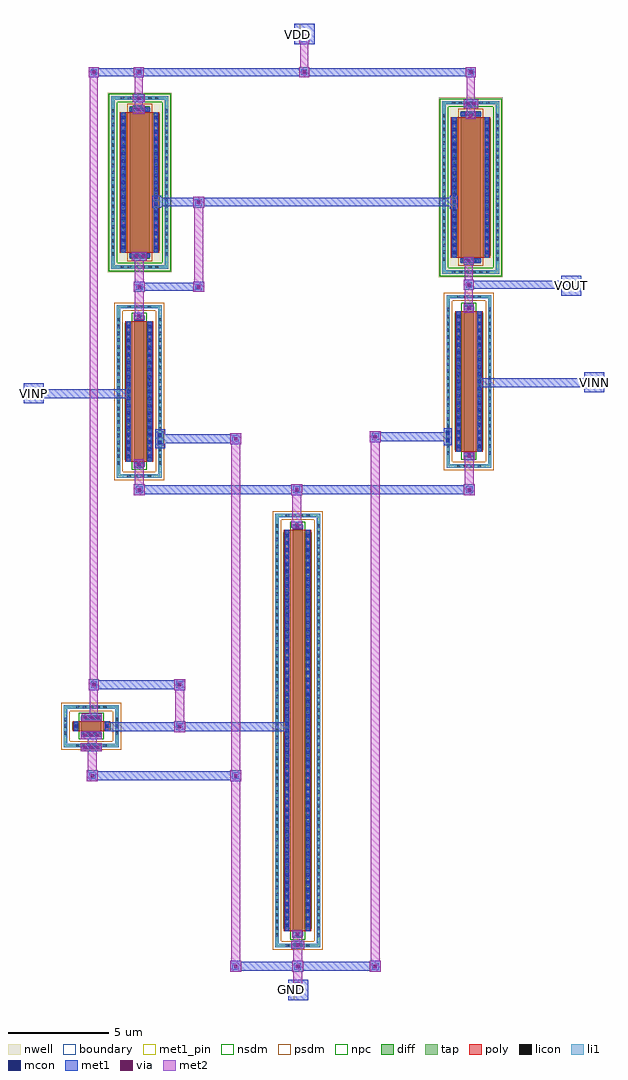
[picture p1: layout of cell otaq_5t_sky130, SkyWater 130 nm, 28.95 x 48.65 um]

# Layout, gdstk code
from math import pi, radians
import gdstk
lib = gdstk.Library(unit=1e-6, precision=1e-09)
def R(c, l, rs):  # rectangles x0, y0, x1, y1
    for r in rs: c.add(gdstk.rectangle(r[:2], r[2:], *l))
def A(c, l, x, y, w, h, nx, ny, dx, dy):  # array of equal rectangles
    R(c, l, [(x+i*dx, y+j*dy, x+i*dx+w, y+j*dy+h) for i in range(nx) for j in range(ny)])
nwell = (64, 20)
diff = (65, 20)
tap = (65, 44)
poly = (66, 20)
licon = (66, 44)
li1 = (67, 20)
mcon = (67, 44)
met1_pin = (68, 16)
met1 = (68, 20)
via = (68, 44)
met2 = (69, 20)
nsdm = (93, 44)
psdm = (94, 20)
npc = (95, 20)
boundary = (235, 4)

sky130_fd_pr__nfet_01v8_ = lib.new_cell('sky130_fd_pr__nfet_01v8_49D4KV')
R(sky130_fd_pr__nfet_01v8_, diff, [(-0.54,-0.5,0.54,0.5)])
R(sky130_fd_pr__nfet_01v8_, tap, [(-1.05,-1.37,1.05,-1.2), (-1.05,-1.2,-0.88,1.2), (0.88,-1.2,1.05,1.2), (-1.05,1.2,1.05,1.37)])
R(sky130_fd_pr__nfet_01v8_, poly, [(-0.25,-0.94,0.25,0.94)])
A(sky130_fd_pr__nfet_01v8_, licon, -0.425, -1.37, 0.17, 0.17, 3, 2, 0.34, 2.57)
A(sky130_fd_pr__nfet_01v8_, licon, -1.05, -0.765, 0.17, 0.17, 1, 5, 0, 0.34)
A(sky130_fd_pr__nfet_01v8_, licon, 0.88, -0.765, 0.17, 0.17, 1, 5, 0, 0.34)
A(sky130_fd_pr__nfet_01v8_, licon, -0.48, -0.425, 0.17, 0.17, 1, 3, 0, 0.34)
A(sky130_fd_pr__nfet_01v8_, licon, 0.31, -0.425, 0.17, 0.17, 1, 3, 0, 0.34)
R(sky130_fd_pr__nfet_01v8_, licon, [(-0.085,-0.86,0.085,-0.69), (-0.085,0.69,0.085,0.86)])
R(sky130_fd_pr__nfet_01v8_, li1, [(-1.05,-1.37,1.05,-1.2), (-1.05,-1.2,-0.88,1.2), (0.88,-1.2,1.05,1.2), (-0.25,-0.86,0.25,-0.69), (-0.48,-0.52,-0.31,0.52), (0.31,-0.52,0.48,0.52), (-0.25,0.69,0.25,0.86), (-1.05,1.2,1.05,1.37)])
R(sky130_fd_pr__nfet_01v8_, mcon, [(-0.085,-0.86,0.085,-0.69), (-0.48,-0.265,-0.31,-0.095), (0.31,-0.265,0.48,-0.095), (-0.48,0.095,-0.31,0.265), (0.31,0.095,0.48,0.265), (-0.085,0.69,0.085,0.86)])
R(sky130_fd_pr__nfet_01v8_, met1, [(-0.23,-0.89,0.23,-0.66), (-0.51,-0.5,-0.28,0.5), (0.28,-0.5,0.51,0.5), (-0.23,0.66,0.23,0.89)])
R(sky130_fd_pr__nfet_01v8_, nsdm, [(-0.665,-0.625,0.665,0.625)])
R(sky130_fd_pr__nfet_01v8_, psdm, [(-1.175,-1.495,1.175,-1.075), (-1.175,-1.075,-0.755,1.075), (0.755,-1.075,1.175,1.075), (-1.175,1.075,1.175,1.495)])
R(sky130_fd_pr__nfet_01v8_, npc, [(-0.185,-0.96,0.185,-0.59), (-0.185,0.59,0.185,0.96)])
R(sky130_fd_pr__nfet_01v8_, boundary, [(-0.965,-1.285,0.965,1.285)])
sky130_fd_pr__nfet_01v8_.add(gdstk.Label('B', (0,-1.285), layer=67, texttype=5))
sky130_fd_pr__nfet_01v8_.add(gdstk.Label('D', (-0.395,0), layer=67, texttype=5))
sky130_fd_pr__nfet_01v8_.add(gdstk.Label('S', (0.395,0), layer=67, texttype=5))
sky130_fd_pr__nfet_01v8_.add(gdstk.Label('G', (0,0.775), layer=67, texttype=5))

c_sky130_fd_pr__nfet_01v8_ = lib.new_cell('sky130_fd_pr__nfet_01v8_Y8ARZT')
R(c_sky130_fd_pr__nfet_01v8_, diff, [(-10.29,-0.25,10.29,0.25)])
R(c_sky130_fd_pr__nfet_01v8_, tap, [(-10.8,-1.12,10.8,-0.95), (-10.8,-0.95,-10.63,0.95), (10.63,-0.95,10.8,0.95), (-10.8,0.95,10.8,1.12)])
R(c_sky130_fd_pr__nfet_01v8_, poly, [(-10,-0.69,10,0.69)])
A(c_sky130_fd_pr__nfet_01v8_, licon, -10.285, -1.12, 0.17, 0.17, 61, 2, 0.34, 2.07)
A(c_sky130_fd_pr__nfet_01v8_, licon, -9.775, -0.61, 0.17, 0.17, 58, 2, 0.34, 1.05)
A(c_sky130_fd_pr__nfet_01v8_, licon, -10.8, -0.595, 0.17, 0.17, 1, 4, 0, 0.34)
A(c_sky130_fd_pr__nfet_01v8_, licon, 10.63, -0.595, 0.17, 0.17, 1, 4, 0, 0.34)
R(c_sky130_fd_pr__nfet_01v8_, licon, [(-10.23,-0.085,-10.06,0.085), (10.06,-0.085,10.23,0.085)])
R(c_sky130_fd_pr__nfet_01v8_, li1, [(-10.8,-1.12,10.8,-0.95), (-10.8,-0.95,-10.63,0.95), (10.63,-0.95,10.8,0.95), (-10,-0.61,10,-0.44), (-10.23,-0.27,-10.06,0.27), (10.06,-0.27,10.23,0.27), (-10,0.44,10,0.61), (-10.8,0.95,10.8,1.12)])
A(c_sky130_fd_pr__nfet_01v8_, mcon, -9.805, -0.61, 0.17, 0.17, 55, 2, 0.36, 1.05)
R(c_sky130_fd_pr__nfet_01v8_, mcon, [(-10.23,-0.085,-10.06,0.085), (10.06,-0.085,10.23,0.085)])
R(c_sky130_fd_pr__nfet_01v8_, met1, [(-9.98,-0.64,9.98,-0.41), (-10.26,-0.25,-10.03,0.25), (10.03,-0.25,10.26,0.25), (-9.98,0.41,9.98,0.64)])
R(c_sky130_fd_pr__nfet_01v8_, nsdm, [(-10.415,-0.375,10.415,0.375)])
R(c_sky130_fd_pr__nfet_01v8_, psdm, [(-10.925,-1.245,10.925,-0.825), (-10.925,-0.825,-10.505,0.825), (10.505,-0.825,10.925,0.825), (-10.925,0.825,10.925,1.245)])
R(c_sky130_fd_pr__nfet_01v8_, npc, [(-9.875,-0.71,9.875,-0.34), (-9.875,0.34,9.875,0.71)])
R(c_sky130_fd_pr__nfet_01v8_, boundary, [(-10.715,-1.035,10.715,1.035)])
c_sky130_fd_pr__nfet_01v8_.add(gdstk.Label('B', (0,-1.035), layer=67, texttype=5))
c_sky130_fd_pr__nfet_01v8_.add(gdstk.Label('D', (-10.145,0), layer=67, texttype=5))
c_sky130_fd_pr__nfet_01v8_.add(gdstk.Label('S', (10.145,0), layer=67, texttype=5))
c_sky130_fd_pr__nfet_01v8_.add(gdstk.Label('G', (0,0.525), layer=67, texttype=5))

sky130_fd_pr__pfet_01v8_ = lib.new_cell('sky130_fd_pr__pfet_01v8_5AEUQ7')
R(sky130_fd_pr__pfet_01v8_, nwell, [(-4.48,-1.595,4.48,1.595)])
R(sky130_fd_pr__pfet_01v8_, diff, [(-3.79,-0.5,3.79,0.5)])
R(sky130_fd_pr__pfet_01v8_, tap, [(-4.3,-1.415,4.3,-1.245), (-4.3,-1.245,-4.13,1.245), (4.13,-1.245,4.3,1.245), (-4.3,1.245,4.3,1.415)])
R(sky130_fd_pr__pfet_01v8_, poly, [(-3.5,-0.985,3.5,0.985)])
A(sky130_fd_pr__pfet_01v8_, licon, -3.655, -1.415, 0.17, 0.17, 22, 2, 0.34, 2.66)
A(sky130_fd_pr__pfet_01v8_, licon, -4.3, -0.935, 0.17, 0.17, 1, 6, 0, 0.34)
A(sky130_fd_pr__pfet_01v8_, licon, 4.13, -0.935, 0.17, 0.17, 1, 6, 0, 0.34)
A(sky130_fd_pr__pfet_01v8_, licon, -3.315, -0.905, 0.17, 0.17, 20, 2, 0.34, 1.64)
A(sky130_fd_pr__pfet_01v8_, licon, -3.73, -0.425, 0.17, 0.17, 1, 3, 0, 0.34)
A(sky130_fd_pr__pfet_01v8_, licon, 3.56, -0.425, 0.17, 0.17, 1, 3, 0, 0.34)
R(sky130_fd_pr__pfet_01v8_, li1, [(-4.3,-1.415,4.3,-1.245), (-4.3,-1.245,-4.13,1.245), (4.13,-1.245,4.3,1.245), (-3.5,-0.905,3.5,-0.735), (-3.73,-0.52,-3.56,0.52), (3.56,-0.52,3.73,0.52), (-3.5,0.735,3.5,0.905), (-4.3,1.245,4.3,1.415)])
A(sky130_fd_pr__pfet_01v8_, mcon, -3.325, -0.905, 0.17, 0.17, 19, 2, 0.36, 1.64)
R(sky130_fd_pr__pfet_01v8_, mcon, [(-3.73,-0.265,-3.56,-0.095), (3.56,-0.265,3.73,-0.095), (-3.73,0.095,-3.56,0.265), (3.56,0.095,3.73,0.265)])
R(sky130_fd_pr__pfet_01v8_, met1, [(-3.48,-0.935,3.48,-0.705), (-3.76,-0.5,-3.53,0.5), (3.53,-0.5,3.76,0.5), (-3.48,0.705,3.48,0.935)])
R(sky130_fd_pr__pfet_01v8_, nsdm, [(-4.425,-1.54,4.425,-1.12), (-4.425,-1.12,-4.005,1.12), (4.005,-1.12,4.425,1.12), (-4.425,1.12,4.425,1.54)])
R(sky130_fd_pr__pfet_01v8_, psdm, [(-3.915,-0.625,3.915,0.625)])
R(sky130_fd_pr__pfet_01v8_, npc, [(-3.415,-1.005,3.415,-0.635), (-3.415,0.635,3.415,1.005)])
R(sky130_fd_pr__pfet_01v8_, boundary, [(-4.215,-1.33,4.215,1.33)])
sky130_fd_pr__pfet_01v8_.add(gdstk.Label('B', (0,-1.33), layer=67, texttype=5))
sky130_fd_pr__pfet_01v8_.add(gdstk.Label('D', (-3.645,0), layer=67, texttype=5))
sky130_fd_pr__pfet_01v8_.add(gdstk.Label('S', (3.645,0), layer=67, texttype=5))
sky130_fd_pr__pfet_01v8_.add(gdstk.Label('G', (0,0.82), layer=67, texttype=5))

c_sky130_fd_pr__nfet_01v8__ = lib.new_cell('sky130_fd_pr__nfet_01v8_WMUBDE')
R(c_sky130_fd_pr__nfet_01v8__, diff, [(-3.79,-0.25,3.79,0.25)])
R(c_sky130_fd_pr__nfet_01v8__, tap, [(-4.3,-1.12,4.3,-0.95), (-4.3,-0.95,-4.13,0.95), (4.13,-0.95,4.3,0.95), (-4.3,0.95,4.3,1.12)])
R(c_sky130_fd_pr__nfet_01v8__, poly, [(-3.5,-0.69,3.5,0.69)])
A(c_sky130_fd_pr__nfet_01v8__, licon, -3.655, -1.12, 0.17, 0.17, 22, 2, 0.34, 2.07)
A(c_sky130_fd_pr__nfet_01v8__, licon, -3.315, -0.61, 0.17, 0.17, 20, 2, 0.34, 1.05)
A(c_sky130_fd_pr__nfet_01v8__, licon, -4.3, -0.595, 0.17, 0.17, 1, 4, 0, 0.34)
A(c_sky130_fd_pr__nfet_01v8__, licon, 4.13, -0.595, 0.17, 0.17, 1, 4, 0, 0.34)
R(c_sky130_fd_pr__nfet_01v8__, licon, [(-3.73,-0.085,-3.56,0.085), (3.56,-0.085,3.73,0.085)])
R(c_sky130_fd_pr__nfet_01v8__, li1, [(-4.3,-1.12,4.3,-0.95), (-4.3,-0.95,-4.13,0.95), (4.13,-0.95,4.3,0.95), (-3.5,-0.61,3.5,-0.44), (-3.73,-0.27,-3.56,0.27), (3.56,-0.27,3.73,0.27), (-3.5,0.44,3.5,0.61), (-4.3,0.95,4.3,1.12)])
A(c_sky130_fd_pr__nfet_01v8__, mcon, -3.325, -0.61, 0.17, 0.17, 19, 2, 0.36, 1.05)
R(c_sky130_fd_pr__nfet_01v8__, mcon, [(-3.73,-0.085,-3.56,0.085), (3.56,-0.085,3.73,0.085)])
R(c_sky130_fd_pr__nfet_01v8__, met1, [(-3.48,-0.64,3.48,-0.41), (-3.76,-0.25,-3.53,0.25), (3.53,-0.25,3.76,0.25), (-3.48,0.41,3.48,0.64)])
R(c_sky130_fd_pr__nfet_01v8__, nsdm, [(-3.915,-0.375,3.915,0.375)])
R(c_sky130_fd_pr__nfet_01v8__, psdm, [(-4.425,-1.245,4.425,-0.825), (-4.425,-0.825,-4.005,0.825), (4.005,-0.825,4.425,0.825), (-4.425,0.825,4.425,1.245)])
R(c_sky130_fd_pr__nfet_01v8__, npc, [(-3.415,-0.71,3.415,-0.34), (-3.415,0.34,3.415,0.71)])
R(c_sky130_fd_pr__nfet_01v8__, boundary, [(-4.215,-1.035,4.215,1.035)])
c_sky130_fd_pr__nfet_01v8__.add(gdstk.Label('B', (0,-1.035), layer=67, texttype=5))
c_sky130_fd_pr__nfet_01v8__.add(gdstk.Label('D', (-3.645,0), layer=67, texttype=5))
c_sky130_fd_pr__nfet_01v8__.add(gdstk.Label('S', (3.645,0), layer=67, texttype=5))
c_sky130_fd_pr__nfet_01v8__.add(gdstk.Label('G', (0,0.525), layer=67, texttype=5))

otaq_5t_sky130 = lib.new_cell('otaq_5t_sky130')
R(otaq_5t_sky130, li1, [(29.5,-13.75,29.75,-13.5), (26.35,-12.9,26.7,-12.55), (29.45,-12.9,29.8,-12.55), (33.3,-12.9,33.65,-12.55), (29.4,-11.75,29.85,-11.55), (19.2,-3.4,19.55,-3.05), (26.35,-3.4,26.7,-3.05), (18.9,-1.9,19.75,-1.7), (23.55,-0.95,23.9,-0.6), (19.3,1.15,19.6,1.5), (23.55,1.15,23.9,1.5), (21.55,10.85,21.9,11.2), (29.4,10.85,29.75,11.2), (38,10.85,38.35,11.2), (22.6,13.2,22.9,13.95), (37,13.35,37.2,14), (26.35,13.4,26.7,13.75), (33.3,13.5,33.65,13.85), (21.55,21,21.9,21.3), (24.5,21,24.85,21.3), (38,21.1,38.3,21.4), (24.5,25.2,24.85,25.55), (38,30.15,38.5,30.4), (21.5,30.45,21.9,30.65), (19.3,31.7,19.6,32), (21.55,31.7,21.85,32), (29.8,31.7,30.1,32), (38.1,31.7,38.4,32), (29.8,33.35,30.1,33.65)])
R(otaq_5t_sky130, mcon, [(29.54,-13.71,29.71,-13.54), (26.44,-12.81,26.61,-12.64), (29.54,-12.81,29.71,-12.64), (33.39,-12.81,33.56,-12.64), (29.54,-11.735,29.71,-11.565), (19.29,-3.31,19.46,-3.14), (26.44,-3.31,26.61,-3.14), (19.06,-1.885,19.23,-1.715), (19.42,-1.885,19.59,-1.715), (23.64,-0.86,23.81,-0.69), (19.365,1.24,19.535,1.41), (23.64,1.24,23.81,1.41), (21.64,10.94,21.81,11.11), (29.49,10.94,29.66,11.11), (38.09,10.94,38.26,11.11), (22.665,13.31,22.835,13.48), (37.015,13.41,37.185,13.58), (26.44,13.49,26.61,13.66), (33.39,13.59,33.56,13.76), (22.665,13.67,22.835,13.84), (37.015,13.77,37.185,13.94), (21.64,21.065,21.81,21.235), (24.59,21.065,24.76,21.235), (38.065,21.165,38.235,21.335), (24.59,25.29,24.76,25.46), (38.165,30.19,38.335,30.36), (21.615,30.465,21.785,30.635), (19.365,31.765,19.535,31.935), (21.615,31.765,21.785,31.935), (29.865,31.765,30.035,31.935), (38.165,31.765,38.335,31.935), (29.865,33.415,30.035,33.585)])
R(otaq_5t_sky130, met1_pin, [(29.15,-14.4,29.45,-13.4), (15.95,15.35,16.95,16.35), (43.9,15.9,44.9,16.9), (42.75,20.7,43.75,21.7), (29.45,33.25,29.75,34.25)])
R(otaq_5t_sky130, met1, [(29.15,-14.4,30.15,-13.4), (26.25,-13,26.8,-12.95), (29.35,-13,29.9,-12.95), (33.2,-13,33.75,-12.95), (26.25,-12.95,33.75,-12.5), (26.25,-12.5,26.8,-12.45), (29.35,-12.5,29.9,-12.45), (33.2,-12.5,33.75,-12.45), (29.3,-11.85,29.95,-11.45), (29.35,-11.3,29.85,-10.9), (19.1,-3.5,19.65,-3.45), (26.25,-3.5,26.8,-3.45), (19.1,-3.45,26.8,-3), (19.1,-3,19.65,-2.95), (26.25,-3,26.8,-2.95), (18.8,-2,19.85,-1.6), (18.8,-1.4,19.85,-1.05), (18.83,-1.05,19.83,-1.01), (23.45,-1.05,24,-1), (20.05,-1,29.2,-0.55), (23.45,-0.55,24,-0.5), (18.85,-0.5,19.85,-0.1), (19.2,1.05,19.7,1.1), (23.45,1.05,24,1.1), (19.2,1.1,24,1.55), (19.2,1.55,19.7,1.6), (23.45,1.55,24,1.6), (29.3,9.15,29.85,9.45), (21.45,10.75,22,10.8), (29.3,10.75,29.85,10.8), (37.9,10.75,38.45,10.8), (21.45,10.8,38.45,11.25), (21.45,11.25,22,11.3), (29.3,11.25,29.85,11.3), (37.9,11.25,38.45,11.3), (21.45,12.1,21.95,12.55), (37.9,12.5,38.4,12.9), (22.5,13.1,23,13.35), (36.9,13.25,37.3,13.45), (26.25,13.3,26.8,13.35), (22.5,13.35,26.8,13.8), (33.2,13.4,33.75,13.45), (33.2,13.45,37.3,13.9), (22.5,13.8,23,14.05), (26.25,13.8,26.8,13.85), (33.2,13.9,33.75,13.95), (36.9,13.9,37.3,14.1), (15.95,15.35,16.95,15.6), (15.95,15.6,21.3,16.05), (43.9,15.9,44.9,16.15), (15.95,16.05,16.95,16.35), (38.55,16.15,44.9,16.6), (43.9,16.6,44.9,16.9), (21.45,19.5,21.95,19.85), (37.9,19.85,38.4,20.3), (42.75,20.7,43.75,21.05), (21.45,20.9,22,20.95), (24.4,20.9,24.95,20.95), (21.45,20.95,24.95,21.35), (37.9,21,38.4,21.05), (37.9,21.05,43.75,21.45), (21.45,21.35,22,21.4), (24.4,21.35,24.95,21.4), (37.9,21.45,38.4,21.5), (42.75,21.45,43.75,21.7), (37.9,22.25,38.4,22.65), (21.35,22.45,22.1,22.9), (37.2,25.05,37.6,25.155), (22.35,25.1,22.8,25.15), (24.4,25.1,24.95,25.155), (22.35,25.15,22.85,25.155), (22.35,25.155,37.6,25.6), (22.35,25.6,22.8,25.7), (24.4,25.6,24.95,25.65), (37.2,25.6,37.6,25.7), (38,29.5,38.5,29.9), (21.4,29.75,22,30.2), (37.9,30.05,38.6,30.5), (21.4,30.35,22,30.75), (19.2,31.6,19.7,31.65), (21.45,31.6,21.95,31.65), (29.7,31.6,30.2,31.65), (38,31.6,38.5,31.65), (19.2,31.65,38.5,32.05), (19.2,32.05,19.7,32.1), (21.45,32.05,21.95,32.1), (29.7,32.05,30.2,32.1), (38,32.05,38.5,32.1), (29.45,33.25,30.45,34.25)])
A(otaq_5t_sky130, via, 18.93, -1.875, 0.15, 0.15, 3, 2, 0.32, 0.6)
A(otaq_5t_sky130, via, 18.955, -0.375, 0.15, 0.15, 3, 1, 0.32, 0)
R(otaq_5t_sky130, via, [(29.55,-13.7,29.7,-13.55), (26.45,-12.8,26.6,-12.65), (29.55,-12.8,29.7,-12.65), (33.4,-12.8,33.55,-12.65), (29.55,-11.725,29.7,-11.575), (29.525,-11.175,29.675,-11.025), (19.3,-3.3,19.45,-3.15), (26.45,-3.3,26.6,-3.15), (23.65,-0.85,23.8,-0.7), (19.375,1.25,19.525,1.4), (23.65,1.25,23.8,1.4), (29.5,9.225,29.65,9.375), (21.65,10.95,21.8,11.1), (29.5,10.95,29.65,11.1), (38.1,10.95,38.25,11.1), (21.625,12.25,21.775,12.4), (38.1,12.625,38.25,12.775), (26.45,13.5,26.6,13.65), (33.4,13.6,33.55,13.75), (21.625,19.625,21.775,19.775), (38.075,20,38.225,20.15), (21.65,21.075,21.8,21.225), (24.6,21.075,24.75,21.225), (38.075,21.175,38.225,21.325), (38.075,22.375,38.225,22.525), (21.515,22.6,21.665,22.75), (21.835,22.6,21.985,22.75), (24.6,25.3,24.75,25.45), (38.175,29.625,38.325,29.775), (21.625,29.9,21.775,30.05), (38.015,30.2,38.165,30.35), (38.335,30.2,38.485,30.35), (21.625,30.475,21.775,30.625), (19.375,31.775,19.525,31.925), (21.625,31.775,21.775,31.925), (29.875,31.775,30.025,31.925), (38.175,31.775,38.325,31.925), (29.875,33.425,30.025,33.575)])
R(otaq_5t_sky130, met2, [(29.4,-13.85,29.85,-13), (26.25,-13,26.8,-12.45), (29.35,-13,29.9,-12.45), (33.2,-13,33.75,-12.45), (26.3,-12.45,26.75,-3.5), (29.4,-12.45,29.85,-11.85), (33.25,-12.45,33.7,13.4), (29.3,-11.85,29.95,-11.45), (29.4,-11.45,29.85,-11.3), (29.35,-11.3,29.85,-10.9), (19.1,-3.5,19.65,-2.95), (26.25,-3.5,26.8,-2.95), (19.15,-2.95,19.6,-2), (26.3,-2.95,26.75,13.3), (18.8,-2,19.85,-1.6), (19.15,-1.6,19.6,-1.4), (18.8,-1.4,19.85,-1.05), (18.83,-1.05,19.83,-1.01), (23.45,-1.05,24,-0.5), (18.85,-0.5,19.85,-0.1), (23.5,-0.5,23.95,1.05), (19.25,-0.1,19.65,1.05), (19.2,1.05,19.7,1.6), (23.45,1.05,24,1.6), (19.25,1.6,19.65,31.6), (29.35,9.1,29.8,9.15), (29.3,9.15,29.85,9.5), (29.35,9.5,29.8,10.75), (21.45,10.75,22,11.3), (29.3,10.75,29.85,11.3), (37.9,10.75,38.45,11.3), (21.5,11.3,21.95,12.1), (37.95,11.3,38.4,12.5), (21.45,12.1,21.95,12.55), (37.9,12.5,38.45,12.9), (26.25,13.3,26.8,13.85), (33.2,13.4,33.75,13.95), (21.45,19.5,21.95,19.85), (21.5,19.85,21.95,20.9), (37.9,19.85,38.4,20.3), (37.95,20.3,38.35,21), (21.45,20.9,22,21.4), (24.4,20.9,24.95,21.4), (37.9,21,38.4,21.5), (21.5,21.4,21.95,22.45), (24.45,21.4,24.9,25.1), (37.95,21.5,38.35,22.25), (37.9,22.25,38.4,22.65), (21.35,22.45,22.1,22.9), (24.4,25.1,24.95,25.65), (38,29.5,38.5,29.9), (21.4,29.75,22,30.2), (38.05,29.9,38.45,30.05), (37.9,30.05,38.6,30.5), (21.5,30.2,21.9,30.35), (21.4,30.35,22,30.75), (38.05,30.5,38.45,31.6), (21.5,30.75,21.9,31.6), (19.2,31.6,19.7,32.1), (21.45,31.6,21.95,32.1), (29.7,31.6,30.2,32.1), (38,31.6,38.5,32.1), (29.75,32.1,30.15,33.25), (29.7,33.25,30.2,33.75)])
otaq_5t_sky130.add(gdstk.Reference(sky130_fd_pr__nfet_01v8_, (19.33,-0.75), rotation=pi/2))
otaq_5t_sky130.add(gdstk.Reference(c_sky130_fd_pr__nfet_01v8_, (29.61,-0.97), rotation=pi/2))
otaq_5t_sky130.add(gdstk.Reference(sky130_fd_pr__pfet_01v8_, (38.235,26.11), rotation=pi/2))
otaq_5t_sky130.add(gdstk.Reference(sky130_fd_pr__pfet_01v8_, (21.735,26.35), rotation=pi/2))
otaq_5t_sky130.add(gdstk.Reference(c_sky130_fd_pr__nfet_01v8__, (38.15,16.44), rotation=pi/2))
otaq_5t_sky130.add(gdstk.Reference(c_sky130_fd_pr__nfet_01v8__, (21.71,15.94), rotation=pi/2))
otaq_5t_sky130.add(gdstk.Label('VDD', (29.6,33.75), layer=68, texttype=5))
otaq_5t_sky130.add(gdstk.Label('VOUT', (43.25,21.2), layer=68, texttype=5))
otaq_5t_sky130.add(gdstk.Label('VINP', (16.45,15.85), layer=68, texttype=5))
otaq_5t_sky130.add(gdstk.Label('VINN', (44.4,16.4), layer=68, texttype=5))
otaq_5t_sky130.add(gdstk.Label('GND', (29.3,-13.9), layer=68, texttype=5))

lib.write_gds('otaq_5t_sky130.gds')
